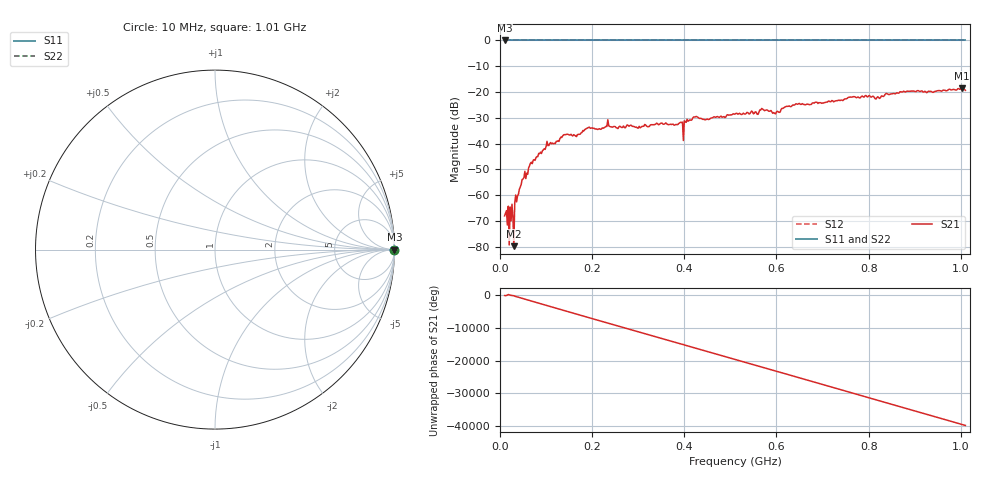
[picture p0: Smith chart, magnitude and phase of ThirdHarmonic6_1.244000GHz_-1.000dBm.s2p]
! 8/16/2025 1:14:50 PM
! C:\ANRITSUVNA\TEMP\TEMP.S2P
! CHANNEL.1
! TR.MEASUREMENT
! RAW.DATA
! RF.CORRECTION.OFF
! AVERAGING.OFF
! IF.BANDWIDTH: 5KHZ
! SWEEPTYPE:  FREQ.SWEEP(Linear)
! Reference Plane Port Info
! PORT:  PORT1  PORT2
! DISTANCE:  0  m  0  m
! TIME:  0  s  0  s
! PHASE.OFFSET:  0  deg.  0  deg.
! LOSS:  0  dB  0  dB
! REF.LOSS:  0  dB  0  dB
! REF.FREQ:  0  Hz  0  Hz
! Power Info
! POWER:  -20  dBm  -20  dBm
! EFF.POWER:  -20  dBm  -20  dBm
! SOURCE.ATTEN:  0  dB  0  dB
! TEST.ATTEN:  0  dB  0  dB
# GHZ S RI R 50.0
! FREQ.GHZ  S11RE  S11IM  S21RE  S21IM  S12RE  S12IM  S22RE  S22IM
!; PortSelection: Port_12
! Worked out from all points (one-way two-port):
!   501 points, 10 MHz to 1.01 GHz, reference 50 ohm
!   highest |S21| = -18.57 dB at 1.002 GHz (marker M1); lowest = -79.7 dB at 30 MHz (marker M2)
!   lowest |S11| = 0.0 dB at 10 MHz (marker M3)
!   |S11| at or under -10 dB: nowhere
!   |S22| runs from 0.0 to 0.0 dB; largest |S21 - S12| = 1.1
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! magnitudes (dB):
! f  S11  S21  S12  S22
! 10 MHz  0.0  -68.0  0.0  0.0
! 20 MHz  0.0  -79.3  0.0  0.0
! 28 MHz  0.0  -68.4  0.0  0.0
! 30 MHz  0.0  -79.7  0.0  0.0
! 34 MHz  0.0  -59.9  0.0  0.0
! 36 MHz  0.0  -62.6  0.0  0.0
! 50 MHz  0.0  -53.7  0.0  0.0
! 70 MHz  0.0  -47.7  0.0  0.0
! 106 MHz  0.0  -40.7  0.0  0.0
! 178 MHz  0.0  -35.6  0.0  0.0
! 234 MHz  0.0  -30.7  0.0  0.0
! 344 MHz  0.0  -32.7  0.0  0.0
! 394 MHz  0.0  -31.8  0.0  0.0
! 424 MHz  0.0  -29.6  0.0  0.0
! 450 MHz  0.0  -30.5  0.0  0.0
! 510 MHz  0.0  -28.5  0.0  0.0
! 568 MHz  0.0  -26.4  0.0  0.0
! 596 MHz  0.0  -28.3  0.0  0.0
! 678 MHz  0.0  -24.2  0.0  0.0
! 844 MHz  0.0  -21.0  0.0  0.0
! 1.002 GHz  0.0  -18.6  0.0  0.0
! 1.01 GHz  0.0  -19.3  0.0  0.0
